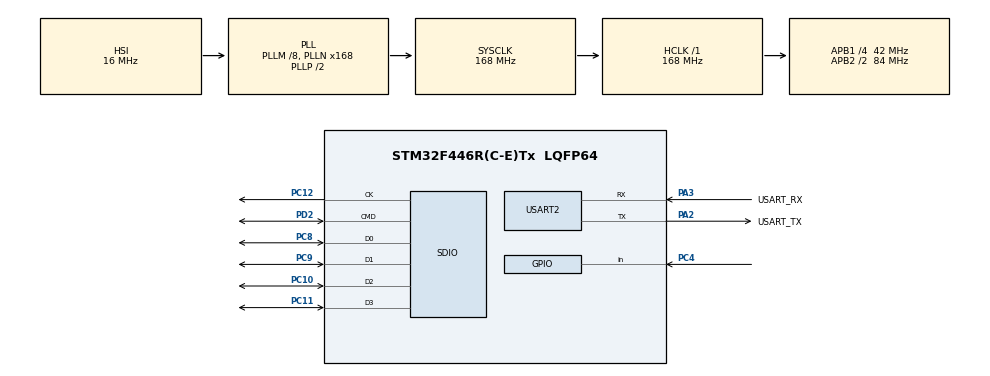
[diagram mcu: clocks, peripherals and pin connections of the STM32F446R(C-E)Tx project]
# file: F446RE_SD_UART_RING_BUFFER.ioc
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Dma.Request0=SDIO_RX
Dma.Request1=SDIO_TX
Dma.SDIO_RX.0.Direction=DMA_PERIPH_TO_MEMORY
Dma.SDIO_RX.0.FIFOMode=DMA_FIFOMODE_ENABLE
Dma.SDIO_RX.0.FIFOThreshold=DMA_FIFO_THRESHOLD_FULL
Dma.SDIO_RX.0.Instance=DMA2_Stream3
Dma.SDIO_RX.0.MemBurst=DMA_MBURST_INC4
Dma.SDIO_RX.0.MemDataAlignment=DMA_MDATAALIGN_WORD
Dma.SDIO_RX.0.MemInc=DMA_MINC_ENABLE
Dma.SDIO_RX.0.Mode=DMA_PFCTRL
Dma.SDIO_RX.0.PeriphBurst=DMA_PBURST_INC4
Dma.SDIO_RX.0.PeriphDataAlignment=DMA_PDATAALIGN_WORD
Dma.SDIO_RX.0.PeriphInc=DMA_PINC_DISABLE
Dma.SDIO_RX.0.Priority=DMA_PRIORITY_HIGH
Dma.SDIO_TX.1.Direction=DMA_MEMORY_TO_PERIPH
Dma.SDIO_TX.1.FIFOMode=DMA_FIFOMODE_ENABLE
Dma.SDIO_TX.1.FIFOThreshold=DMA_FIFO_THRESHOLD_FULL
Dma.SDIO_TX.1.Instance=DMA2_Stream6
Dma.SDIO_TX.1.MemBurst=DMA_MBURST_INC4
Dma.SDIO_TX.1.MemDataAlignment=DMA_MDATAALIGN_WORD
Dma.SDIO_TX.1.MemInc=DMA_MINC_ENABLE
Dma.SDIO_TX.1.Mode=DMA_PFCTRL
Dma.SDIO_TX.1.PeriphBurst=DMA_PBURST_INC4
Dma.SDIO_TX.1.PeriphDataAlignment=DMA_PDATAALIGN_WORD
Dma.SDIO_TX.1.PeriphInc=DMA_PINC_DISABLE
Dma.SDIO_TX.1.Priority=DMA_PRIORITY_HIGH
FATFS.BSP.number=1
FATFS._FS_EXFAT=0
FATFS._MAX_SS=4096
FATFS._USE_LFN=0
FATFS0.BSP.STBoard=false
FATFS0.BSP.api=Unknown
FATFS0.BSP.instance=PC4
FATFS0.BSP.ip=GPIO
FATFS0.BSP.mode=Input
FATFS0.BSP.name=Detect_SDIO
FATFS0.BSP.solution=PC4
Mcu.Family=STM32F4
Mcu.Name=STM32F446R(C-E)Tx
Mcu.Package=LQFP64
NVIC.DMA2_Stream3_IRQn=true\:0\:0\:false\:false\:true\:false\:true\:true
NVIC.DMA2_Stream6_IRQn=true\:0\:0\:false\:false\:true\:false\:true\:true
NVIC.PriorityGroup=NVIC_PRIORITYGROUP_0
NVIC.SDIO_IRQn=true\:0\:0\:false\:false\:true\:true\:true\:true
PA13.GPIO_Label=TMS
PA13.Mode=Serial_Wire
PA13.Signal=SYS_JTMS-SWDIO
PA14.GPIO_Label=TCK
PA14.Mode=Serial_Wire
PA14.Signal=SYS_JTCK-SWCLK
PA2.GPIO_Label=USART_TX
PA2.Mode=Asynchronous
PA2.Signal=USART2_TX
PA3.GPIO_Label=USART_RX
PA3.Mode=Asynchronous
PA3.Signal=USART2_RX
PB3.GPIO_Label=SWO
PB3.Signal=SYS_JTDO-SWO
PC10.GPIO_PuPd=GPIO_NOPULL
PC10.Mode=SD_4_bits_Wide_bus
PC10.Signal=SDIO_D2
PC11.GPIO_PuPd=GPIO_NOPULL
PC11.Mode=SD_4_bits_Wide_bus
PC11.Signal=SDIO_D3
PC12.GPIO_PuPd=GPIO_NOPULL
PC12.Mode=SD_4_bits_Wide_bus
PC12.Signal=SDIO_CK
PC4.Signal=GPIO_Input
PC8.GPIO_PuPd=GPIO_NOPULL
PC8.Mode=SD_4_bits_Wide_bus
PC8.Signal=SDIO_D0
PC9.GPIO_PuPd=GPIO_NOPULL
PC9.Mode=SD_4_bits_Wide_bus
PC9.Signal=SDIO_D1
PD2.GPIO_PuPd=GPIO_NOPULL
PD2.Mode=SD_4_bits_Wide_bus
PD2.Signal=SDIO_CMD
PH0-OSC_IN.Mode=HSE-External-Oscillator
PH0-OSC_IN.Signal=RCC_OSC_IN
PH1-OSC_OUT.Mode=HSE-External-Oscillator
PH1-OSC_OUT.Signal=RCC_OSC_OUT
ProjectManager.HeapSize=0x200
ProjectManager.StackSize=0x400
ProjectManager.TargetToolchain=STM32CubeIDE
RCC.48MHZClocksFreq_Value=84000000
RCC.AHBFreq_Value=168000000
RCC.APB1CLKDivider=RCC_HCLK_DIV4
RCC.APB1Freq_Value=42000000
RCC.APB1TimFreq_Value=84000000
RCC.APB2CLKDivider=RCC_HCLK_DIV2
RCC.APB2Freq_Value=84000000
RCC.APB2TimFreq_Value=168000000
RCC.CortexFreq_Value=168000000
RCC.FLatency-AdvancedSettings=FLASH_LATENCY_5
RCC.HCLKFreq_Value=168000000
RCC.HSE_VALUE=8000000
RCC.HSI_VALUE=16000000
RCC.PLLM=8
RCC.PLLN=168
RCC.PLLQ=7
RCC.SYSCLKFreq_VALUE=168000000
RCC.SYSCLKSource=RCC_SYSCLKSOURCE_PLLCLK
RCC.USBFreq_Value=48000000
RCC.VCOOutputFreq_Value=336000000
SDIO.ClockDiv=2
SDIO.ClockEdge=SDIO_CLOCK_EDGE_RISING
SDIO.ClockPowerSave=SDIO_CLOCK_POWER_SAVE_DISABLE
SDIO.HardwareFlowControl=SDIO_HARDWARE_FLOW_CONTROL_ENABLE
USART2.VirtualMode=VM_ASYNC
VP_CRC_VS_CRC.Mode=CRC_Activate
VP_FATFS_VS_SDIO.Mode=SDIO
board=NUCLEO-F446RE

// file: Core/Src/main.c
/* USER CODE BEGIN Header */
/**
 ******************************************************************************
 * @file           : main.c
 * @brief          : Main program body
 ******************************************************************************
 * @attention
 *
 * Copyright (c) 2022 STMicroelectronics.
 * All rights reserved.
 *
 * This software is licensed under terms that can be found in the LICENSE file
 * in the root directory of this software component.
 * If no LICENSE file comes with this software, it is provided AS-IS.
 *
 ******************************************************************************
 */
/* USER CODE END Header */
#include "main.h"
#include "fatfs.h"

/* USER CODE BEGIN Includes */
#include "File_Handling.h"

/* USER CODE END Includes */

/* USER CODE BEGIN PTD */
typedef struct _WaveHeader{
	char riff[4];
	uint32_t size;
	char wave[4];
	char fmt[4];
	uint32_t fmt_size;
	uint16_t format; //1:PCM
	uint16_t channels; // channels
	uint32_t sampleRate;  // sample rate
	uint32_t rbc;//sampleRate*bitsPerSample*channels/8
	uint16_t bc; //bitsPerSample*channels/8
	uint16_t bitsPerSample; //bitsPerSample
	char data[4];
	uint32_t data_size;
} WAVE_HEADER;
/* USER CODE END PTD */

CRC_HandleTypeDef hcrc;

SD_HandleTypeDef hsd;
DMA_HandleTypeDef hdma_sdio_rx;
DMA_HandleTypeDef hdma_sdio_tx;

UART_HandleTypeDef huart2;

/* USER CODE BEGIN PV */
char buffer[100];
int indx = 0;
uint16_t count;
char filename[256];
BYTE work[_MAX_SS];
FRESULT res;
HAL_StatusTypeDef status;
WAVE_HEADER wave_header;
/* USER CODE END PV */

void SystemClock_Config(void);
static void MX_GPIO_Init(void);
static void MX_USART2_UART_Init(void);
static void MX_SDIO_SD_Init(void);
static void MX_DMA_Init(void);
static void MX_CRC_Init(void);
/* USER CODE BEGIN PFP */
WAVE_HEADER fwrite_wav_header(FIL* file, uint16_t sampleRate, uint8_t bitsPerSample, uint8_t channels);

/* USER CODE END PFP */

int main(void)
{
  /* USER CODE BEGIN 1 */
	FIL fil;

  /* USER CODE END 1 */

  /* MCU Configuration--------------------------------------------------------*/

  /* Reset of all peripherals, Initializes the Flash interface and the Systick. */
  HAL_Init();

  /* Configure the system clock */
  SystemClock_Config();

  /* Initialize all configured peripherals */
  MX_GPIO_Init();
  MX_USART2_UART_Init();
  MX_SDIO_SD_Init();
  MX_DMA_Init();
  MX_FATFS_Init();
  MX_CRC_Init();
  /* USER CODE BEGIN 2 */
//  do
//  {
//	  status = HAL_SD_InitCard(&hsd);
//  }
//  while( status != HAL_OK);
	  //	res = FR_EXIST;
	  //	while( res != FR_OK) res = f_mount(&SDFatFS, SDPath, 1);
	  //	while(res != FR_OK)  res = Format_SD();
	  //	sprintf(filename, "%sr_%05d.wav", SDPath, count++);
	  //	while(res != FR_EXIST) res = f_open(&fil, filename, FA_CREATE_ALWAYS|FA_WRITE);
	  //	while( Create_File("FILE2.TXT") != FR_OK);
	  //	Unmount_SD("/");

  Mount_SD("/");
//  do
//  {
//	  res = f_mkfs("", 0, 0, work, sizeof(work));
//  }
//  while( res != FR_OK);
  do
  {
  res = Format_SD();
  }
  while (res != FR_OK);
  do
  {
	  res = f_mount(&SDFatFS, SDPath, 1);
  }
  while( res != FR_OK);

  Create_File("FILE1.TXT");
//  Create_File("FILE2.TXT");
  Unmount_SD("/");

  /* USER CODE END 2 */

  /* Infinite loop */
  /* USER CODE BEGIN WHILE */
	while (1)
	{
		Mount_SD("/");
		sprintf(buffer, "Hello ---> %d\n", indx);
		Update_File("FILE1.TXT", buffer);
		sprintf(buffer, "world ---> %d\n", indx);
//		sprintf(buffer, &fwrite_wav_header(&fil, 48000, 16, 2));
		wave_header = fwrite_wav_header(&fil, 48000, 16, 2);
		Update_File("FILE1.TXT", (char*)&wave_header);
//		if(Update_File("FILE2.TXT", buffer) != FR_OK)  HAL_SD_InitCard(&hsd);
		Unmount_SD("/");

		indx++;

		HAL_Delay(2000);

    /* USER CODE END WHILE */

	}
}

void SystemClock_Config(void)
{
  RCC_OscInitTypeDef RCC_OscInitStruct = {0};
  RCC_ClkInitTypeDef RCC_ClkInitStruct = {0};

  /** Configure the main internal regulator output voltage
  */
  __HAL_RCC_PWR_CLK_ENABLE();
  __HAL_PWR_VOLTAGESCALING_CONFIG(PWR_REGULATOR_VOLTAGE_SCALE1);

  /** Initializes the RCC Oscillators according to the specified parameters
  * in the RCC_OscInitTypeDef structure.
  */
  RCC_OscInitStruct.OscillatorType = RCC_OSCILLATORTYPE_HSI;
  RCC_OscInitStruct.HSIState = RCC_HSI_ON;
  RCC_OscInitStruct.HSICalibrationValue = RCC_HSICALIBRATION_DEFAULT;
  RCC_OscInitStruct.PLL.PLLState = RCC_PLL_ON;
  RCC_OscInitStruct.PLL.PLLSource = RCC_PLLSOURCE_HSI;
  RCC_OscInitStruct.PLL.PLLM = 8;
  RCC_OscInitStruct.PLL.PLLN = 168;
  RCC_OscInitStruct.PLL.PLLP = RCC_PLLP_DIV2;
  RCC_OscInitStruct.PLL.PLLQ = 7;
  RCC_OscInitStruct.PLL.PLLR = 2;
  if (HAL_RCC_OscConfig(&RCC_OscInitStruct) != HAL_OK)
  {
    Error_Handler();
  }

  /** Initializes the CPU, AHB and APB buses clocks
  */
  RCC_ClkInitStruct.ClockType = RCC_CLOCKTYPE_HCLK|RCC_CLOCKTYPE_SYSCLK
                              |RCC_CLOCKTYPE_PCLK1|RCC_CLOCKTYPE_PCLK2;
  RCC_ClkInitStruct.SYSCLKSource = RCC_SYSCLKSOURCE_PLLCLK;
  RCC_ClkInitStruct.AHBCLKDivider = RCC_SYSCLK_DIV1;
  RCC_ClkInitStruct.APB1CLKDivider = RCC_HCLK_DIV4;
  RCC_ClkInitStruct.APB2CLKDivider = RCC_HCLK_DIV2;

  if (HAL_RCC_ClockConfig(&RCC_ClkInitStruct, FLASH_LATENCY_5) != HAL_OK)
  {
    Error_Handler();
  }
}

static void MX_CRC_Init(void)
{

  hcrc.Instance = CRC;
  if (HAL_CRC_Init(&hcrc) != HAL_OK)
  {
    Error_Handler();
  }

}

static void MX_SDIO_SD_Init(void)
{

  hsd.Instance = SDIO;
  hsd.Init.ClockEdge = SDIO_CLOCK_EDGE_RISING;
  hsd.Init.ClockBypass = SDIO_CLOCK_BYPASS_DISABLE;
  hsd.Init.ClockPowerSave = SDIO_CLOCK_POWER_SAVE_DISABLE;
  hsd.Init.BusWide = SDIO_BUS_WIDE_1B;
  hsd.Init.HardwareFlowControl = SDIO_HARDWARE_FLOW_CONTROL_ENABLE;
  hsd.Init.ClockDiv = 2;

}

static void MX_USART2_UART_Init(void)
{

  huart2.Instance = USART2;
  huart2.Init.BaudRate = 115200;
  huart2.Init.WordLength = UART_WORDLENGTH_8B;
  huart2.Init.StopBits = UART_STOPBITS_1;
  huart2.Init.Parity = UART_PARITY_NONE;
  huart2.Init.Mode = UART_MODE_TX_RX;
  huart2.Init.HwFlowCtl = UART_HWCONTROL_NONE;
  huart2.Init.OverSampling = UART_OVERSAMPLING_16;
  if (HAL_UART_Init(&huart2) != HAL_OK)
  {
    Error_Handler();
  }

}

static void MX_DMA_Init(void)
{

  /* DMA controller clock enable */
  __HAL_RCC_DMA2_CLK_ENABLE();

  /* DMA interrupt init */
  /* DMA2_Stream3_IRQn interrupt configuration */
  HAL_NVIC_SetPriority(DMA2_Stream3_IRQn, 0, 0);
  HAL_NVIC_EnableIRQ(DMA2_Stream3_IRQn);
  /* DMA2_Stream6_IRQn interrupt configuration */
  HAL_NVIC_SetPriority(DMA2_Stream6_IRQn, 0, 0);
  HAL_NVIC_EnableIRQ(DMA2_Stream6_IRQn);

}

static void MX_GPIO_Init(void)
{
  GPIO_InitTypeDef GPIO_InitStruct = {0};

  /* GPIO Ports Clock Enable */
  __HAL_RCC_GPIOH_CLK_ENABLE();
  __HAL_RCC_GPIOA_CLK_ENABLE();
  __HAL_RCC_GPIOC_CLK_ENABLE();
  __HAL_RCC_GPIOD_CLK_ENABLE();
  __HAL_RCC_GPIOB_CLK_ENABLE();

  /*Configure GPIO pin : PC4 */
  GPIO_InitStruct.Pin = GPIO_PIN_4;
  GPIO_InitStruct.Mode = GPIO_MODE_INPUT;
  GPIO_InitStruct.Pull = GPIO_NOPULL;
  HAL_GPIO_Init(GPIOC, &GPIO_InitStruct);

}

/* USER CODE BEGIN 4 */
WAVE_HEADER fwrite_wav_header(FIL* file, uint16_t sampleRate, uint8_t bitsPerSample, uint8_t channels) {
	UINT bw;

	wave_header.riff[0] = 'R';wave_header.riff[1] = 'I';
	wave_header.riff[2] = 'F';wave_header.riff[3] = 'F';
	wave_header.size = (uint32_t)0;
	wave_header.wave[0] = 'W';wave_header.wave[1] = 'A';
	wave_header.wave[2] = 'V';wave_header.wave[3] = 'E';
	wave_header.fmt[0] = 'f';wave_header.fmt[1] = 'm';
	wave_header.fmt[2] = 't';wave_header.fmt[3] = ' ';
	wave_header.fmt_size = 16;
	wave_header.format = 1; // PCM
	wave_header.channels = channels; // channels
	wave_header.sampleRate=sampleRate;  // sample rate
	wave_header.rbc = sampleRate*bitsPerSample*channels/8;
	wave_header.bc =  bitsPerSample*channels/8;
	wave_header.bitsPerSample = bitsPerSample; //bitsPerSample
	wave_header.data[0] = 'd'; wave_header.data[1] = 'a';
	wave_header.data[2] = 't'; wave_header.data[3] = 'a';
	wave_header.data_size = 0;

	return wave_header;
}

/* USER CODE END 4 */

void Error_Handler(void)
{
	__disable_irq();
	while (1)
	{
	}
}
